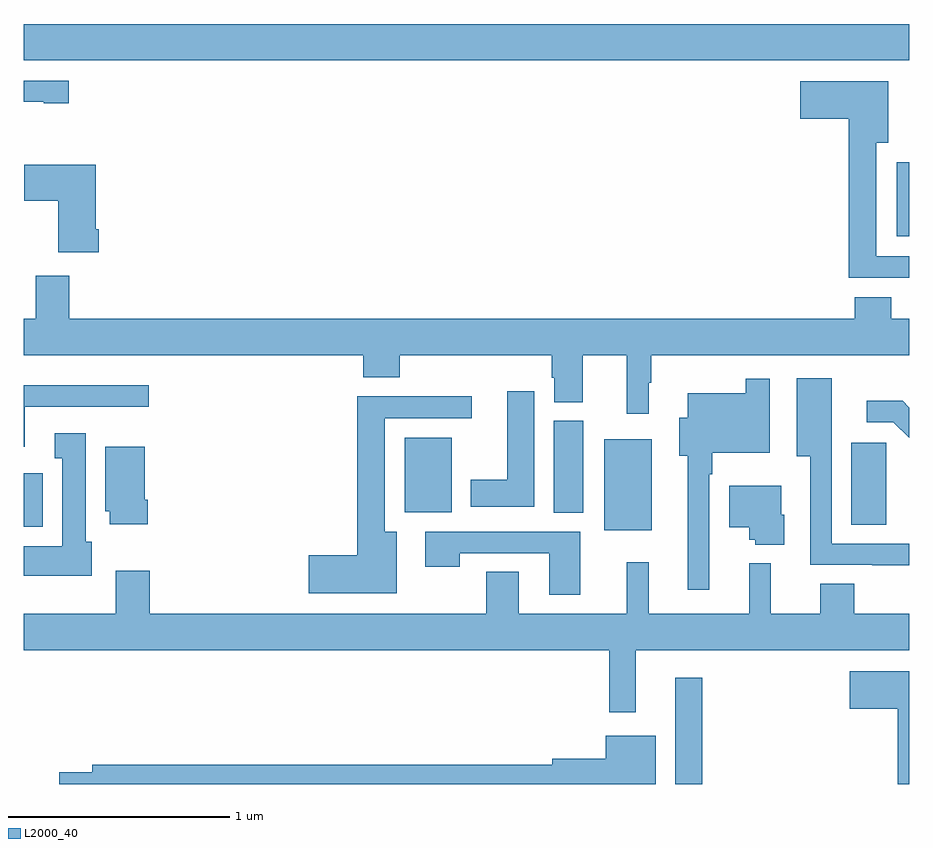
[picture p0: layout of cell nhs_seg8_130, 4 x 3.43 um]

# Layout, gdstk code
import gdstk
lib = gdstk.Library(unit=1e-6, precision=1e-09)
def R(c, l, rs):  # rectangles x0, y0, x1, y1
    for r in rs: c.add(gdstk.rectangle(r[:2], r[2:], *l))
def P(c, l, *ps):  # polygons
    for p in ps: c.add(gdstk.Polygon(p, *l))
L2000_40 = (2000, 40)

nhs_seg8_130 = lib.new_cell('nhs_seg8_130')
R(nhs_seg8_130, L2000_40, [(121.943,1111.9,122.065,1112.38), (121.622,1113.047,121.837,1113.457), (119,1113.062,119.086,1113.304), (122.738,1113.07,122.896,1113.441), (121.394,1113.124,121.528,1113.54), (120.722,1113.128,120.934,1113.463), (122.942,1114.373,123,1114.708), (119,1115.168,123,1115.332)])
P(nhs_seg8_130, L2000_40, [(119.203,1115.076),(119,1115.076),(119,1114.98),(119.09,1114.98),(119.09,1114.975),(119.203,1114.975)],
  [(123,1114.284),(122.851,1114.284),(122.851,1114.796),(122.905,1114.796),(122.905,1115.074),(122.508,1115.074),(122.508,1114.904),(122.726,1114.904),(122.726,1114.187),(123,1114.187)],
  [(119.339,1114.405),(119.326,1114.405),(119.326,1114.696),(119.004,1114.696),(119.004,1114.534),(119.156,1114.534),(119.156,1114.301),(119.339,1114.301)],
  [(121.822,1113.713),(121.834,1113.713),(121.834,1113.836),(123,1113.836),(123,1114),(122.918,1114),(122.918,1114.099),(122.753,1114.099),(122.753,1114),(119.207,1114),(119.207,1114.195),(119.054,1114.195),(119.054,1114),(119,1114),(119,1113.836),(120.533,1113.836),(120.533,1113.737),(120.698,1113.737),(120.698,1113.836),(121.385,1113.836),(121.385,1113.735),(121.397,1113.735),(121.397,1113.625),(121.525,1113.625),(121.525,1113.836),(121.724,1113.836),(121.724,1113.573),(121.822,1113.573)],
  [(123,1112.985),(122.649,1112.985),(122.649,1113.484),(122.65,1113.484),(122.65,1113.733),(122.492,1113.733),(122.492,1113.38),(122.553,1113.38),(122.553,1112.889),(122.833,1112.889),(122.833,1112.887),(123,1112.887)],
  [(122.097,1113.299),(122.11,1113.299),(122.11,1113.395),(122.37,1113.395),(122.37,1113.73),(122.262,1113.73),(122.262,1113.664),(122,1113.664),(122,1113.553),(121.961,1113.553),(121.961,1113.383),(122,1113.383),(122,1112.778),(122.097,1112.778)],
  [(119.005,1113.603),(119.566,1113.603),(119.566,1113.7),(119,1113.7),(119,1113.422),(119.005,1113.422)],
  [(121.306,1113.673),(121.184,1113.673),(121.184,1113.274),(121.019,1113.274),(121.019,1113.152),(121.306,1113.152)],
  [(120.685,1113.04),(120.631,1113.04),(120.631,1113.552),(121.024,1113.552),(121.024,1113.65),(120.506,1113.65),(120.506,1112.933),(120.288,1112.933),(120.288,1112.762),(120.685,1112.762)],
  [(123,1113.6),(122.969,1113.631),(122.808,1113.631),(122.808,1113.534),(122.928,1113.534),(122.999,1113.464),(123,1113.464)],
  [(119.308,1112.994),(119.281,1112.994),(119.281,1113.484),(119.141,1113.484),(119.141,1113.371),(119.174,1113.371),(119.174,1112.974),(119,1112.974),(119,1112.84),(119.308,1112.84)],
  [(119.561,1113.184),(119.548,1113.184),(119.548,1113.424),(119.369,1113.424),(119.369,1113.132),(119.39,1113.132),(119.39,1113.072),(119.561,1113.072)],
  [(122.434,1113.117),(122.422,1113.117),(122.422,1113.247),(122.186,1113.247),(122.186,1113.059),(122.276,1113.059),(122.276,1113.003),(122.304,1113.003),(122.304,1112.981),(122.434,1112.981)],
  [(121.513,1113.039),(120.813,1113.039),(120.813,1112.88),(120.969,1112.88),(120.969,1112.943),(121.373,1112.943),(121.373,1112.754),(121.513,1112.754)],
  [(121.765,1112.504),(123,1112.504),(123,1112.668),(122.75,1112.668),(122.75,1112.804),(122.597,1112.804),(122.597,1112.668),(122.375,1112.668),(122.375,1112.896),(122.276,1112.896),(122.276,1112.668),(121.823,1112.668),(121.823,1112.902),(121.724,1112.902),(121.724,1112.668),(121.237,1112.668),(121.237,1112.858),(121.09,1112.858),(121.09,1112.668),(119.57,1112.668),(119.57,1112.863),(119.417,1112.863),(119.417,1112.668),(119,1112.668),(119,1112.504),(121.644,1112.504),(121.644,1112.223),(121.765,1112.223)],
  [(123,1112.41),(122.73,1112.41),(122.73,1112.24),(122.948,1112.24),(122.948,1111.9),(123,1111.9)],
  [(121.855,1112.119),(121.628,1112.119),(121.628,1112.013),(121.388,1112.013),(121.388,1111.988),(119.309,1111.988),(119.309,1111.952),(119.16,1111.952),(119.16,1111.9),(121.855,1111.9)])

lib.write_gds('nhs_seg8_130.gds')
